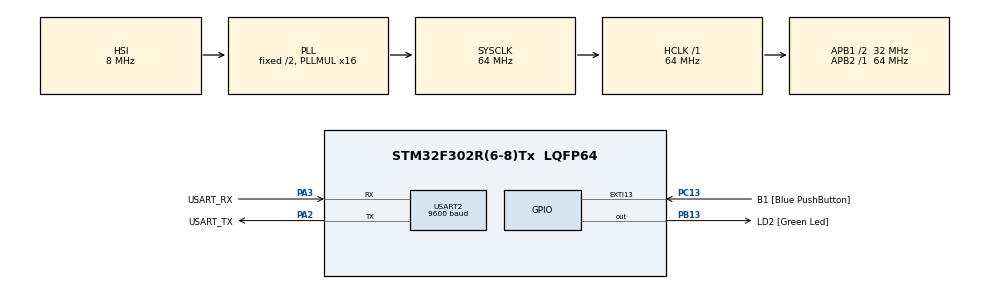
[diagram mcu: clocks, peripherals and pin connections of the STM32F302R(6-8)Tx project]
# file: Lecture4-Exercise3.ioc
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Mcu.Family=STM32F3
Mcu.Name=STM32F302R(6-8)Tx
Mcu.Package=LQFP64
NVIC.PriorityGroup=NVIC_PRIORITYGROUP_0
NVIC.TIM1_UP_TIM16_IRQn=true\:0\:0\:false\:false\:true\:true\:true\:true
PA13.GPIO_Label=TMS
PA13.Mode=Serial_Wire
PA13.Signal=SYS_JTMS-SWDIO
PA14.GPIO_Label=TCK
PA14.Mode=Serial_Wire
PA14.Signal=SYS_JTCK-SWCLK
PA2.GPIO_Label=USART_TX
PA2.GPIO_Mode=GPIO_MODE_AF_PP
PA2.GPIO_PuPd=GPIO_NOPULL
PA2.GPIO_Speed=GPIO_SPEED_FREQ_LOW
PA2.Mode=Asynchronous
PA2.Signal=USART2_TX
PA3.GPIO_Label=USART_RX
PA3.GPIO_Mode=GPIO_MODE_AF_PP
PA3.GPIO_PuPd=GPIO_NOPULL
PA3.GPIO_Speed=GPIO_SPEED_FREQ_LOW
PA3.Mode=Asynchronous
PA3.Signal=USART2_RX
PB13.GPIO_Label=LD2 [Green Led]
PB13.Signal=GPIO_Output
PB3.GPIO_Label=SWO
PB3.Mode=Trace_Asynchronous_SW
PB3.Signal=SYS_JTDO-TRACESWO
PC13.GPIO_Label=B1 [Blue PushButton]
PC13.GPIO_ModeDefaultEXTI=GPIO_MODE_IT_FALLING
PC13.Signal=GPXTI13
PC14\ -\ OSC32_IN.Mode=LSE-External-Oscillator
PC14\ -\ OSC32_IN.Signal=RCC_OSC32_IN
PC15\ -\ OSC32_OUT.Mode=LSE-External-Oscillator
PC15\ -\ OSC32_OUT.Signal=RCC_OSC32_OUT
PF0-OSC_IN.Mode=HSE-External-Clock-Source
PF0-OSC_IN.Signal=RCC_OSC_IN
PF1-OSC_OUT.Signal=RCC_OSC_OUT
ProjectManager.HeapSize=0x200
ProjectManager.StackSize=0x400
ProjectManager.TargetToolchain=STM32CubeIDE
RCC.AHBFreq_Value=64000000
RCC.APB1CLKDivider=RCC_HCLK_DIV2
RCC.APB1Freq_Value=32000000
RCC.APB1TimFreq_Value=64000000
RCC.APB2Freq_Value=64000000
RCC.APB2TimFreq_Value=64000000
RCC.CortexFreq_Value=64000000
RCC.HCLKFreq_Value=64000000
RCC.HSE_VALUE=8000000
RCC.HSI_VALUE=8000000
RCC.PLLM=8
RCC.PLLMUL=RCC_PLL_MUL16
RCC.PLLN=336
RCC.PLLP=RCC_PLLP_DIV4
RCC.PLLQ=7
RCC.RCC_PLLsource_Clock_Source_FROM_HSE=RCC_HSE_PREDIV_DIV2
RCC.SYSCLKFreq_VALUE=64000000
RCC.SYSCLKSourceVirtual=RCC_SYSCLKSOURCE_PLLCLK
RCC.USBFreq_Value=64000000
TIM16.Period=32000
TIM16.Prescaler=10000
USART2.BaudRate=9600
USART2.VirtualMode-Asynchronous=VM_ASYNC
VP_TIM16_VS_ClockSourceINT.Mode=Enable_Timer
board=NUCLEO-F302R8

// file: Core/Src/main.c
/* USER CODE BEGIN Header */
/**
  ******************************************************************************
  * @file           : main.c
  * @brief          : Main program body
  ******************************************************************************
  * @attention
  *
  * Copyright (c) 2026 STMicroelectronics.
  * All rights reserved.
  *
  * This software is licensed under terms that can be found in the LICENSE file
  * in the root directory of this software component.
  * If no LICENSE file comes with this software, it is provided AS-IS.
  *
  ******************************************************************************
  */
/* USER CODE END Header */
#include "main.h"
#include "tim.h"
#include "usart.h"
#include "gpio.h"

/* USER CODE BEGIN Includes */
#include <string.h>
/* USER CODE END Includes */

/* USER CODE BEGIN PV */
int tim_status = 0;
char Rx_Buffer[100], Rx_idx, Rx_data[1];
HAL_StatusTypeDef read_status;
/* USER CODE END PV */

void SystemClock_Config(void);
/* USER CODE BEGIN PFP */
void HAL_TIM_PeriodElapsedCallback(TIM_HandleTypeDef *htim);
/* USER CODE END PFP */

int main(void)
{

  /* MCU Configuration--------------------------------------------------------*/

  /* Reset of all peripherals, Initializes the Flash interface and the Systick. */
  HAL_Init();

  /* Configure the system clock */
  SystemClock_Config();

  /* Initialize all configured peripherals */
  MX_GPIO_Init();
  MX_TIM16_Init();
  MX_USART2_UART_Init();

  /* Infinite loop */
  while (1)
  {
    /* USER CODE BEGIN 3 */
	read_status = HAL_UART_Receive(&huart2, (uint8_t *) Rx_data, 1, 50);
	switch (read_status)
	{
	case HAL_TIMEOUT:
		if (tim_status == 0)
		{
			HAL_TIM_Base_Start_IT(&htim16);
			tim_status= 1;
		}
		break;
	case HAL_OK:
		if (tim_status==1)
		{
			HAL_TIM_Base_Stop_IT(&htim16);
			tim_status=0;
		}
		if (Rx_idx == 0)
			for (int i = 0; i < 100; i++)
				Rx_Buffer[i] = 0;

		if (Rx_data[0] != 13)
		{
			Rx_Buffer[(int) Rx_idx++] = Rx_data[0];
		}
		else
		{
			HAL_UART_Transmit(&huart2, (uint8_t *) "\n\r", 2, 100);
			if (!strcmp(Rx_Buffer,"LD2_ON"))
			{
				HAL_GPIO_WritePin(LD2_GPIO_Port, LD2_Pin, GPIO_PIN_SET);
			}
			else if (!strcmp(Rx_Buffer, "LD2_OFF"))
			{
				HAL_GPIO_WritePin(LD2_GPIO_Port, LD2_Pin, GPIO_PIN_RESET);
			}
			else
			{
				HAL_UART_Transmit(&huart2, (uint8_t *) "ERROR:", 7, 700);
				HAL_UART_Transmit(&huart2, (uint8_t *) Rx_Buffer, strlen(Rx_Buffer), 700);
				HAL_UART_Transmit(&huart2, (uint8_t *) "\n\r", 2, 100);
			}
			Rx_idx = 0;
		}
		break;
	default:
		HAL_UART_Transmit(&huart2, (uint8_t *)"UNDEFINED BEHAVIOUR\n\r", 21, 2000);
		break;
	}
  }
  /* USER CODE END 3 */
}

void SystemClock_Config(void)
{
  RCC_OscInitTypeDef RCC_OscInitStruct = {0};
  RCC_ClkInitTypeDef RCC_ClkInitStruct = {0};
  RCC_PeriphCLKInitTypeDef PeriphClkInit = {0};

  /** Initializes the RCC Oscillators according to the specified parameters
  * in the RCC_OscInitTypeDef structure.
  */
  RCC_OscInitStruct.OscillatorType = RCC_OSCILLATORTYPE_HSI;
  RCC_OscInitStruct.HSIState = RCC_HSI_ON;
  RCC_OscInitStruct.HSICalibrationValue = RCC_HSICALIBRATION_DEFAULT;
  RCC_OscInitStruct.PLL.PLLState = RCC_PLL_ON;
  RCC_OscInitStruct.PLL.PLLSource = RCC_PLLSOURCE_HSI;
  RCC_OscInitStruct.PLL.PLLMUL = RCC_PLL_MUL16;
  if (HAL_RCC_OscConfig(&RCC_OscInitStruct) != HAL_OK)
  {
    Error_Handler();
  }

  /** Initializes the CPU, AHB and APB buses clocks
  */
  RCC_ClkInitStruct.ClockType = RCC_CLOCKTYPE_HCLK|RCC_CLOCKTYPE_SYSCLK
                              |RCC_CLOCKTYPE_PCLK1|RCC_CLOCKTYPE_PCLK2;
  RCC_ClkInitStruct.SYSCLKSource = RCC_SYSCLKSOURCE_PLLCLK;
  RCC_ClkInitStruct.AHBCLKDivider = RCC_SYSCLK_DIV1;
  RCC_ClkInitStruct.APB1CLKDivider = RCC_HCLK_DIV2;
  RCC_ClkInitStruct.APB2CLKDivider = RCC_HCLK_DIV1;

  if (HAL_RCC_ClockConfig(&RCC_ClkInitStruct, FLASH_LATENCY_2) != HAL_OK)
  {
    Error_Handler();
  }
  PeriphClkInit.PeriphClockSelection = RCC_PERIPHCLK_TIM16;
  PeriphClkInit.Tim16ClockSelection = RCC_TIM16CLK_HCLK;
  if (HAL_RCCEx_PeriphCLKConfig(&PeriphClkInit) != HAL_OK)
  {
    Error_Handler();
  }
}

/* USER CODE BEGIN 4 */
void HAL_TIM_PeriodElapsedCallback(TIM_HandleTypeDef *htim)
{
	if(htim->Instance == TIM16)
	{
		HAL_UART_Transmit(&huart2, (uint8_t *) "TIMEOUT\n\r", 9, 700);
		tim_status = 0;
	}
}
/* USER CODE END 4 */

void Error_Handler(void)
{
  __disable_irq();
  while (1)
  {
  }
}
